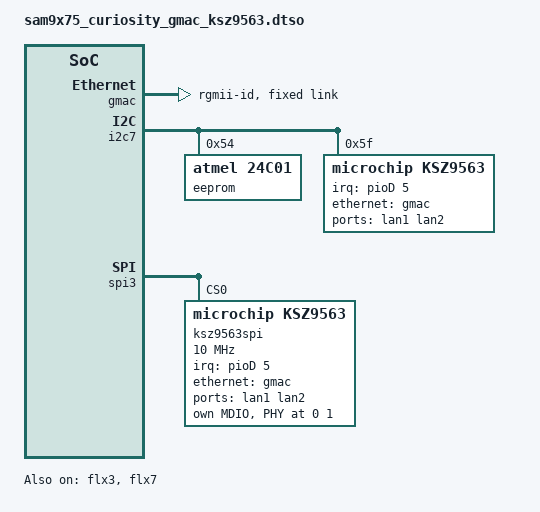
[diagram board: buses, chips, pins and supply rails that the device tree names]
// SPDX-License-Identifier: (GPL-2.0+ OR MIT)
/*
 * Device Tree file for SAM9X75 CURIOSITY board overlay blob supporting the
 * KSZ9563 3-port Gigabit switch Daughter Card using I2C or SPI and RGMII.
 *
 * Copyright (C) 2024 Microchip Technology Inc. and its subsidiaries
 *
 * Author: Jerry Ray <jerry.ray@microchip.com>
 *
 * Refer to the EV35V13A (KSZ9563-EDS2 daughter card)
 *
 */
/dts-v1/;
/plugin/;

#include <dt-bindings/gpio/gpio.h>
#include <dt-bindings/interrupt-controller/irq.h>
#include <dt-bindings/mfd/atmel-flexcom.h>
#include <dt-bindings/pinctrl/at91.h>

&flx3 {
	atmel,flexcom-mode = <ATMEL_FLEXCOM_MODE_SPI>;
	status = "okay";
};

&flx7 {
	atmel,flexcom-mode = <ATMEL_FLEXCOM_MODE_TWI>;
	status = "okay";
};

&gmac {
	phy-mode = "rgmii-id";
	pinctrl-names = "default";
	pinctrl-0 = <&pinctrl_gmac_rgmii_default>;
	magic-packet;
	status = "okay";

	fixed-link {
		speed = <1000>;
		full-duplex;
	};
};

&i2c7 {
	#address-cells = <1>;
	#size-cells = <0>;
	pinctrl-names = "default";
	pinctrl-0 = <&pinctrl_flx7_twi_default>;
	i2c-analog-filter;
	i2c-digital-filter;
	i2c-digital-filter-width-ns = <35>;
	dmas = <0>, <0>;
	status = "okay";

	eeprom@54 {
		compatible = "atmel,24c01";
		reg = <0x54>;
		pagesize = <8>;
		status = "okay";
	};

	ksz9563: ksz9563-switch@5f {
		compatible = "microchip,ksz9563";
		reg = <95>;
		interrupt-parent = <&pioD>;
		interrupts = <5 IRQ_TYPE_LEVEL_LOW>;
		status = "okay";

		ports {
			#address-cells = <1>;
			#size-cells = <0>;
			port@0 {
				reg = <0>;
				label = "lan1";
			};
			port@1 {
				reg = <1>;
				label = "lan2";
			};
			port@2 {
				reg = <2>;
				phy-mode = "rgmii-id";
				rx-internal-delay-ps = <2000>;
				tx-internal-delay-ps = <2000>;
				ethernet = <&gmac>;
				fixed-link {
					speed = <1000>;
					full-duplex;
				};
			};
		};
	};
};

&pinctrl {
	flexcom {
		pinctrl_flx3_default: flx3-spi-default {
			atmel,pins =
				<AT91_PIOC 22 AT91_PERIPH_B AT91_PINCTRL_NONE
				 AT91_PIOC 23 AT91_PERIPH_B AT91_PINCTRL_NONE
				 AT91_PIOC 25 AT91_PERIPH_B AT91_PINCTRL_NONE
				 AT91_PIOC 26 AT91_PERIPH_B AT91_PINCTRL_NONE>;
		};

		pinctrl_flx7_twi_default: flx7-twi-default {
			atmel,pins =
				<AT91_PIOC 0 AT91_PERIPH_C AT91_PINCTRL_NONE
				 AT91_PIOC 1 AT91_PERIPH_C AT91_PINCTRL_NONE>;
		};
	};

	gmac {
		pinctrl_gmac_rgmii_default: gmac-rgmii-default {
			atmel,pins =
				<AT91_PIOB 13 AT91_PERIPH_A  AT91_PINCTRL_SLEWRATE_DIS				/* ETH_TX0   */
				 AT91_PIOB 14 AT91_PERIPH_A  AT91_PINCTRL_SLEWRATE_DIS				/* ETH_TX1   */
				 AT91_PIOB 4  AT91_PERIPH_A  AT91_PINCTRL_SLEWRATE_DIS				/* ETH_TX2   */
				 AT91_PIOB 5  AT91_PERIPH_A  AT91_PINCTRL_SLEWRATE_DIS				/* ETH_TX3   */
				 AT91_PIOB 7  AT91_PERIPH_A  AT91_PINCTRL_SLEWRATE_DIS				/* ETH_TXCTL  */
				 AT91_PIOB 6  AT91_PERIPH_A (AT91_PINCTRL_PULL_UP | AT91_PINCTRL_SLEWRATE_DIS)	/* ETH_TXCK  */

				 AT91_PIOB 11 AT91_PERIPH_A  AT91_PINCTRL_SLEWRATE_DIS				/* ETH_RX0   */
				 AT91_PIOB 12 AT91_PERIPH_A  AT91_PINCTRL_SLEWRATE_DIS				/* ETH_RX1   */
				 AT91_PIOB 0  AT91_PERIPH_A  AT91_PINCTRL_SLEWRATE_DIS				/* ETH_RX2   */
				 AT91_PIOB 1  AT91_PERIPH_A  AT91_PINCTRL_SLEWRATE_DIS				/* ETH_RX3   */
				 AT91_PIOB 8  AT91_PERIPH_A  AT91_PINCTRL_SLEWRATE_DIS				/* ETH_RXCK   */
				 AT91_PIOB 3  AT91_PERIPH_A  AT91_PINCTRL_SLEWRATE_DIS				/* ETH_RXCTL */

				 AT91_PIOB 10 AT91_PERIPH_A  AT91_PINCTRL_NONE					/* ETH_MDC   */
				 AT91_PIOB 9  AT91_PERIPH_A  AT91_PINCTRL_NONE					/* ETH_MDIO  */

				 AT91_PIOB 2  AT91_PERIPH_A  AT91_PINCTRL_DIS_SCHMIT			 	/* ETH_125CK */
				 AT91_PIOD 5  AT91_PERIPH_GPIO  AT91_PINCTRL_NONE>;				/* ETH_INT   */
		};
	};
};

&spi3 {
	#address-cells = <1>;
	#size-cells = <0>;
	pinctrl-names = "default";
	pinctrl-0 = <&pinctrl_flx3_default>;
	dmas = <0>, <0>;
	status = "okay";

	ksz9563spi: ksz9563-switch@0 {
		compatible = "microchip,ksz9563";
		reg = <0>;
		interrupt-parent = <&pioD>;
		interrupts = <5 IRQ_TYPE_LEVEL_LOW>;
		spi-max-frequency = <10000000>;		/* flywire */

		spi-cpha;
		spi-cpol;
		status = "okay";

		ports {
			#address-cells = <1>;
			#size-cells = <0>;
			port@0 {
				reg = <0>;
				label = "lan1";
				phy-handle = <&swphy0>;
			};
			port@1 {
				reg = <1>;
				label = "lan2";
				phy-handle = <&swphy1>;
			};
			port@2 {
				reg = <2>;
				phy-mode = "rgmii-id";
				rx-internal-delay-ps = <2000>;
				tx-internal-delay-ps = <2000>;
				ethernet = <&gmac>;
				fixed-link {
					speed = <1000>;
					full-duplex;
				};
			};
		};
		mdio {
			#address-cells = <1>;
			#size-cells = <0>;
			swphy0: ethernet-phy@0 {
				reg = <0>;
				eee-broken-100tx;
				eee-broken-1000t;
			};
			swphy1: ethernet-phy@1 {
				reg = <1>;
				eee-broken-100tx;
				eee-broken-1000t;
			};
		};
	};
};

&{/} {
	model = "SAM9X75-Curiosity: KSZ9563 RGMII PHY Daughter Card";
};
